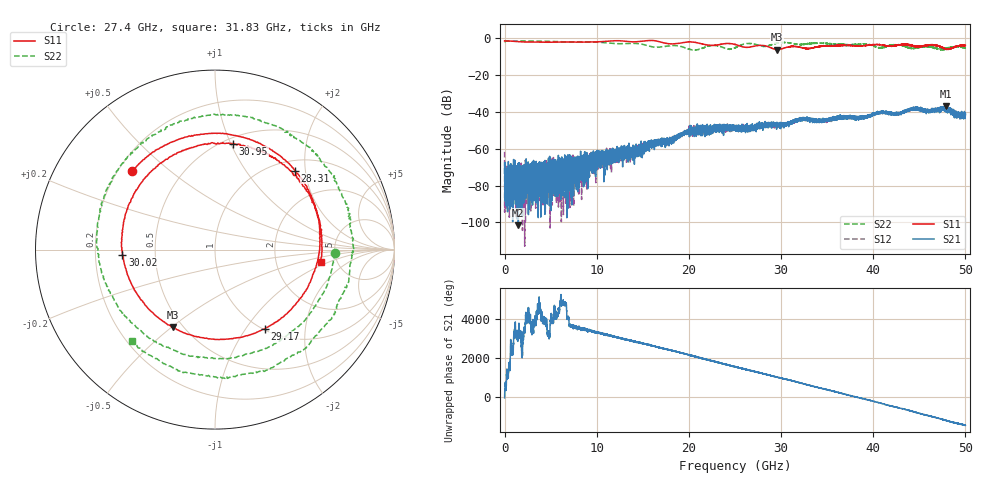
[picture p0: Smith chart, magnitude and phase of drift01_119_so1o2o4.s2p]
!Created with skrf (http://scikit-rf.org).
# Hz S RI R 50.0
!freq ReS11 ImS11 ReS21 ImS21 ReS12 ImS12 ReS22 ImS22
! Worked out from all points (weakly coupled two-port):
!   10001 points, 300 kHz to 50 GHz, reference 50 ohm
!   highest |S21| = -36.73 dB at 47.89 GHz (marker M1); lowest = -101.5 dB at 1.49 GHz (marker M2)
!   lowest |S11| = -6.2 dB at 29.6 GHz (marker M3), VSWR 2.93, Z = 22.2 - j25.2 ohm
!   |S11| at or under -10 dB: nowhere
!   |S22| runs from -6.4 to -1.4 dB; largest |S21 - S12| = 0.0039
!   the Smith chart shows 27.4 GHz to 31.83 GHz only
!   S11 on the Smith chart (normalised r, x): 27.4 GHz: 0.26, +0.38; 28.31 GHz: 1.21, +1.75; 29.17 GHz: 1.01, -1.23; 30.02 GHz: 0.32, -0.02; 30.95 GHz: 0.55, +1.02; 31.83 GHz: 3.77, -0.83
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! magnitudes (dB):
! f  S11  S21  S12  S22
! 300 kHz  -1.3  -73.2  -61.6  -2.1
! 255.3 MHz  -1.4  -70.9  -73.1  -1.4
! 1.49 GHz  -1.8  -101.5  -79.8  -1.4
! 4.39 GHz  -2.1  -66.3  -76.3  -1.5
! 7.225 GHz  -2.0  -67.9  -72.0  -1.9
! 8.335 GHz  -2.0  -67.6  -67.8  -1.8
! 16.67 GHz  -1.6  -57.5  -57.3  -4.8
! 20.3 GHz  -1.9  -49.8  -49.6  -6.1
! 22.62 GHz  -3.8  -48.1  -49.6  -3.8
! 25 GHz  -3.3  -48.4  -48.2  -5.0
! 27.4 GHz  -3.9  -47.7  -47.6  -3.5
! 28.31 GHz  -4.1  -46.2  -46.2  -4.3
! 29.17 GHz  -5.7  -47.8  -47.5  -3.0
! 29.6 GHz  -6.2  -47.7  -46.4  -2.6
! 30.02 GHz  -5.7  -45.8  -46.5  -2.3
! 30.95 GHz  -4.5  -46.0  -45.4  -2.5
! 31.83 GHz  -4.5  -44.8  -44.6  -3.2
! 33.34 GHz  -5.2  -44.4  -43.5  -2.6
! 41.67 GHz  -4.3  -40.8  -40.4  -4.1
! 46.52 GHz  -3.6  -38.9  -39.4  -5.0
! 47.89 GHz  -5.7  -36.7  -38.7  -5.3
! 50 GHz  -3.8  -41.2  -41.1  -5.3
